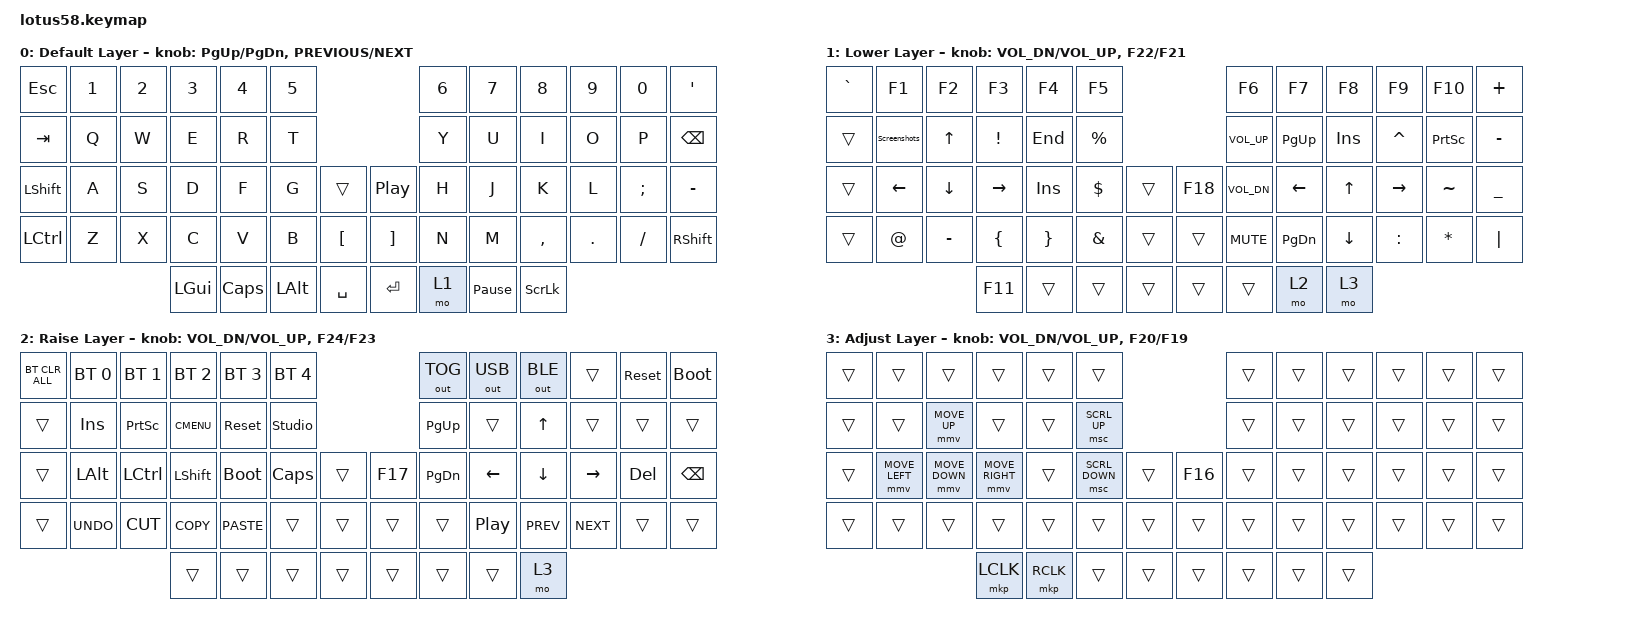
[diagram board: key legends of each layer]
/*
 * Copyright (c) 2022 The ZMK Contributors
 *
 * SPDX-License-Identifier: MIT
 */

#include <behaviors.dtsi>
#include <dt-bindings/zmk/bt.h>
#include <dt-bindings/zmk/keys.h>
#include <dt-bindings/zmk/outputs.h>
#include <dt-bindings/zmk/pointing.h>

#define default_layer 0
#define raise_layer 1
#define lower_layer 2
#define adjust_layer 3
#define extra_layer 4

/*
// Encoders

&sensors { triggers-per-rotation = <30>; };

&left_encoder { steps = <60>; };

&right_encoder { steps = <60>; };

*/
// To get to Adjust layer hold both Lower and Raise together.

/ {
    combos {
        compatible = "zmk,combos";

        combo_dsklg {
            timeout-ms = <100>;
            key-positions = <24 52>;
            layers = <0>;
            bindings = <&kp LGUI>;
        };

        Yhotkey {
            bindings = <&kp Y>;
            key-positions = <28 29>;
        };

        Nhotkey {
            bindings = <&kp N>;
            key-positions = <42 43>;
        };
    };

    behaviors {
        fofunc: four_ffour {
            compatible = "zmk,behavior-mod-morph";
            #binding-cells = <0>;
            bindings = <&kp N4>, <&kp F4>;

            mods = <(MOD_LALT|MOD_RALT)>;
        };

        sleft: s_left {
            compatible = "zmk,behavior-mod-morph";
            #binding-cells = <0>;
            bindings = <&kp S>, <&kp LEFT>;

            mods = <(MOD_LGUI|MOD_RGUI)>;
        };

        fright: f_right {
            compatible = "zmk,behavior-mod-morph";
            #binding-cells = <0>;
            bindings = <&kp F>, <&kp RIGHT>;

            mods = <(MOD_LGUI|MOD_RGUI)>;
        };
    };

    macros {
        Screenshots: Screenshots {
            compatible = "zmk,behavior-macro";
            #binding-cells = <0>;
            bindings =
                <&macro_press>,
                <&kp LEFT_GUI &kp LEFT_SHIFT>,
                <&macro_tap>,
                <&kp S>,
                <&macro_release>,
                <&kp LEFT_GUI &kp LEFT_SHIFT>;

            label = "SCREENSHOTS";
        };
    };

    keymap {
        compatible = "zmk,keymap";

        default_layer {
            display-name = "Default Layer";

            //   ------------------------------------------------------------------------------------------------------------
            //  0|  ESC  |  1  |  2  |  3   |  4   |  5   |                     |  6   |  7    |  8    |  9   |   0   |   =   | 11
            // 12|  TAB  |  Q  |  W  |  E   |  R   |  T   |                     |  Y   |  U    |  I    |  O   |   P   |   [   | 23
            // 24|  SFT  |  A  |  S  |  D   |  F   |  G   |  RESET  |  | RESET  |  H   |  J    |  K    |  L   |   ;   | ' SFT | 37
            // 38|  CTRL |  Z  |  X  |  C   |  V   |  B   |  MUTE   |  | PLAY   |  N   |  M    |  ,    |  .   |   /   | \ CTRL| 51
            // 52                    |ENT RS|  ALT | SPACE|DELETE LW|  |ENTER RS| BSPC |  ] LW | RGUI  |                        59

            bindings = <
&kp ESC    &kp N1  &kp N2  &kp N3    &kp NUMBER_4  &kp N5                                     &kp N6  &kp N7           &kp N8          &kp N9   &kp N0    &kp SQT
&kp TAB    &kp Q   &kp W   &kp E     &kp R         &kp T                                      &kp Y   &kp U            &kp I           &kp O    &kp P     &kp BSPC
&kp LSHFT  &kp A   &kp S   &kp D     &kp F         &kp G         &trans     &kp C_PLAY_PAUSE  &kp H   &kp J            &kp K           &kp L    &kp SEMI  &kp MINUS
&kp LCTRL  &kp Z   &kp X   &kp C     &kp V         &kp B         &kp LBKT   &kp RBKT          &kp N   &kp M            &kp COMMA       &kp DOT  &kp FSLH  &kp RIGHT_SHIFT
                           &kp LGUI  &kp CAPSLOCK  &kp LEFT_ALT  &kp SPACE  &kp RET           &mo 1   &kp PAUSE_BREAK  &kp SCROLLLOCK
            >;

            sensor-bindings =
                <&inc_dec_kp PG_UP PG_DN>,
                <&inc_dec_kp C_PREVIOUS C_NEXT>;
        };

        lower_layer {
            display-name = "Lower Layer";

            // ------------------------------------------------------------------------------------------------------------
            // | `     |  F1 |  F2 |  F3  |  F4  |  F5  |                   |  F6  |  F7   |  F8   |  F9  |  F10  |  F11  |
            // |       |  !  | HOME|   ^  |  END |  %   |                   | VOL^ |  PGUP |  INS  |  ^   |  PSCR |   -   |
            // |       |  #  |  <- |   v  | ->   |  $   |        |  |       | VOLv |    <- |   ^   |  ->  |   ~   |   _   |
            // |       |  @  |  -  |  (   |  )   |  &   |        |  |       | MUTE |  PGDN |   v   |  :   |   *   |   |   |
            //                     |  F11 |      |      |        |  |       |      |       |  F12  |

            bindings = <
&kp GRAVE  &kp F1        &kp F2     &kp F3           &kp F4      &kp F5                      &kp F6        &kp F7     &kp F8    &kp F9     &kp F10    &kp PLUS
&trans     &Screenshots  &kp UP     &kp EXCLAMATION  &kp END     &kp PRCNT                   &kp C_VOL_UP  &kp PG_UP  &kp INS   &kp CARET  &kp PSCRN  &kp MINUS
&trans     &kp LEFT      &kp DOWN   &kp RIGHT        &kp INSERT  &kp DLLR   &trans  &kp F18  &kp C_VOL_DN  &kp LEFT   &kp UP    &kp RIGHT  &kp TILDE  &kp UNDER
&trans     &kp AT        &kp MINUS  &kp LBRC         &kp RBRC    &kp AMPS   &trans  &trans   &kp C_MUTE    &kp PG_DN  &kp DOWN  &kp COLON  &kp STAR   &kp PIPE
                                    &kp F11          &trans      &trans     &trans  &trans   &trans        &mo 2      &mo 3
            >;

            sensor-bindings =
                <&inc_dec_kp C_VOL_DN C_VOL_UP>,
                <&inc_dec_kp F22 F21>;
        };

        raise_layer {
            display-name = "Raise Layer";

            // ------------------------------------------------------------------------------------------------------------
            // |BTCLR| BT1  | BT2  |  BT3  |  BT4  |  BT5 |                |OUTTOG|OUTUSB| OUTBT |      | RESET | FLASH |
            // |     | INS  | PSCR | GUI   | RESET |      |                | PGUP |      |   ^   |      |       |       |
            // |     | ALT  | CTRL | SHIFT | FLASH | CAPS |      |  |      | PGDN |   <- |   v   |  ->  |  DEL  | BSPC  |
            // |     | UNDO | CUT  | COPY  | PASTE |      |      |  |      |      |  |>  |  <|<| | |>|> |       |       |
            //                     |       |       |      |      |  |      |      |      |       |

            bindings = <
&bt BT_CLR_ALL  &bt BT_SEL 0  &bt BT_SEL 1  &bt BT_SEL 2  &bt BT_SEL 3  &bt BT_SEL 4                     &out OUT_TOG  &out OUT_USB  &out OUT_BLE  &trans      &sys_reset  &bootloader
&trans          &kp INS       &kp PSCRN     &kp K_CMENU   &sys_reset    &studio_unlock                   &kp PG_UP     &trans        &kp UP        &trans      &trans      &trans
&trans          &kp LALT      &kp LCTRL     &kp LSHFT     &bootloader   &kp CLCK        &trans  &kp F17  &kp PG_DN     &kp LEFT      &kp DOWN      &kp RIGHT   &kp DEL     &kp BSPC
&trans          &kp K_UNDO    &kp K_CUT     &kp K_COPY    &kp K_PASTE   &trans          &trans  &trans   &trans        &kp C_PP      &kp C_PREV    &kp C_NEXT  &trans      &trans
                                            &trans        &trans        &trans          &trans  &trans   &trans        &trans        &mo 3
            >;

            sensor-bindings =
                <&inc_dec_kp C_VOL_DN C_VOL_UP>,
                <&inc_dec_kp F24 F23>;
        };

        adjust_layer {
            display-name = "Adjust Layer";

            // ------------------------------------------------------------------------------------------------------------
            // |BTCLR| BT1  | BT2  |  BT3  |  BT4  |  BT5 |                |OUTTOG|OUTUSB| OUTBT |      | RESET | FLASH |
            // |     | INS  | PSCR | GUI   | RESET |      |                | PGUP |      |   ^   |      |       |       |
            // |     | ALT  | CTRL | SHIFT | FLASH | CAPS |      |  |      | PGDN |   <- |   v   |  ->  |  DEL  | BSPC  |
            // |     | UNDO | CUT  | COPY  | PASTE |      |      |  |      |      |  |>  |  <|<| | |>|> |       |       |
            //                     |       |       |      |      |  |      |      |      |       |

            bindings = <
&trans  &trans          &trans          &trans           &trans     &trans                           &trans  &trans  &trans  &trans  &trans  &trans
&trans  &trans          &mmv MOVE_UP    &trans           &trans     &msc SCRL_UP                     &trans  &trans  &trans  &trans  &trans  &trans
&trans  &mmv MOVE_LEFT  &mmv MOVE_DOWN  &mmv MOVE_RIGHT  &trans     &msc SCRL_DOWN  &trans  &kp F16  &trans  &trans  &trans  &trans  &trans  &trans
&trans  &trans          &trans          &trans           &trans     &trans          &trans  &trans   &trans  &trans  &trans  &trans  &trans  &trans
                                        &mkp LCLK        &mkp RCLK  &trans          &trans  &trans   &trans  &trans  &trans
            >;

            sensor-bindings =
                <&inc_dec_kp C_VOL_DN C_VOL_UP>,
                <&inc_dec_kp F20 F19>;
        };
    };

    extra_layer {
        display-name = "Extra Layer";

        // ------------------------------------------------------------------------------------------------------------
        // |BTCLR| BT1  | BT2  |  BT3  |  BT4  |  BT5 |                |OUTTOG|OUTUSB| OUTBT |      | RESET | FLASH |
        // |     | INS  | PSCR | GUI   | RESET |      |                | PGUP |      |   ^   |      |       |       |
        // |     | ALT  | CTRL | SHIFT | FLASH | CAPS |      |  |      | PGDN |   <- |   v   |  ->  |  DEL  | BSPC  |
        // |     | UNDO | CUT  | COPY  | PASTE |      |      |  |      |      |  |>  |  <|<| | |>|> |       |       |
        //                     |       |       |      |      |  |      |      |      |       |

        bindings = <
&trans &trans &trans &trans &trans &trans                    &trans  &trans  &trans  &trans     &trans  &trans
&trans &trans &mmv MOVE_UP &trans &trans &msc SCRL_UP                    &trans  &trans  &trans  &trans     &trans  &trans
&trans     &mmv MOVE_LEFT     &mmv MOVE_DOWN    &mmv MOVE_RIGHT    &trans  &msc SCRL_DOWN     &trans   &trans    &trans     &trans      &trans      &trans  &trans &trans
&trans     &trans   &trans    &trans   &trans  &trans       &trans   &trans    &trans        &trans      &trans    &trans &trans  &trans
                                     &mkp LCLK       &mkp RCLK       &trans       &trans   &trans    &trans        &trans        &trans
        >;

        sensor-bindings = <&inc_dec_kp C_VOL_DN C_VOL_UP &inc_dec_kp PG_UP PG_DN>;
    };
};
